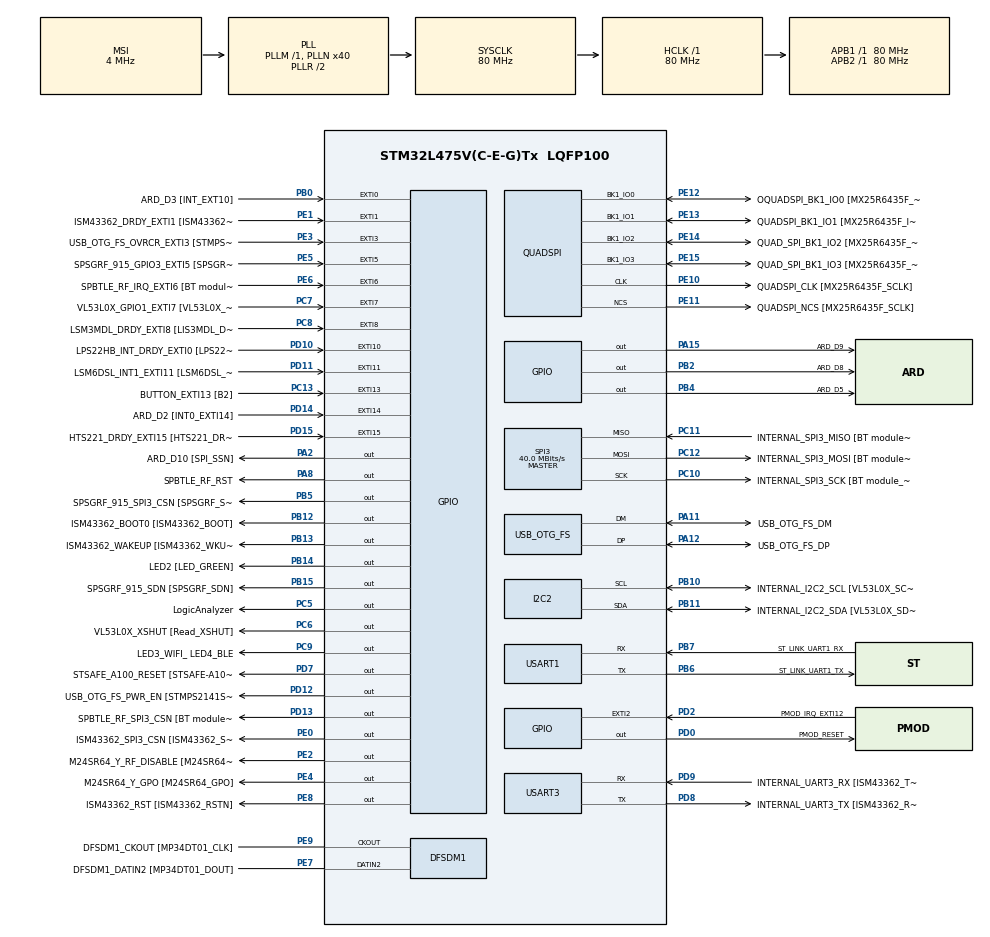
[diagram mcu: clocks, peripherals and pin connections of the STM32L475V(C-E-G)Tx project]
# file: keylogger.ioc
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Mcu.Family=STM32L4
Mcu.Name=STM32L475V(C-E-G)Tx
Mcu.Package=LQFP100
NVIC.EXTI15_10_IRQn=true\:0\:0\:false\:false\:true\:true\:true\:true
NVIC.EXTI9_5_IRQn=true\:0\:0\:false\:false\:true\:true\:true\:true
NVIC.PriorityGroup=NVIC_PRIORITYGROUP_4
PA0.GPIO_Label=ARD_D1 [UART4_TX]
PA0.Signal=UART4_TX
PA1.GPIO_Label=ARD_D0 [UART4_RX]
PA1.Signal=UART4_RX
PA10.GPIO_Label=USB_OTG_FS_ID
PA10.Signal=USB_OTG_FS_ID
PA11.GPIO_Label=USB_OTG_FS_DM
PA11.Mode=Device_Only
PA11.Signal=USB_OTG_FS_DM
PA12.GPIO_Label=USB_OTG_FS_DP
PA12.Mode=Device_Only
PA12.Signal=USB_OTG_FS_DP
PA13\ (JTMS-SWDIO).GPIO_Label=SYS_JTMS_SWDIO
PA13\ (JTMS-SWDIO).Mode=Serial_Wire
PA13\ (JTMS-SWDIO).Signal=SYS_JTMS-SWDIO
PA14\ (JTCK-SWCLK).GPIO_Label=SYS_JTCK_SWCLK
PA14\ (JTCK-SWCLK).Mode=Serial_Wire
PA14\ (JTCK-SWCLK).Signal=SYS_JTCK-SWCLK
PA15\ (JTDI).GPIO_Label=ARD_D9
PA15\ (JTDI).Signal=GPIO_Output
PA2.GPIO_Label=ARD_D10 [SPI_SSN]
PA2.Signal=GPIO_Output
PA3.GPIO_Label=ARD_D4
PA3.Signal=S_TIM2_CH4
PA4.GPIO_Label=ARD_D7
PA4.Signal=ADCx_IN9
PA5.GPIO_Label=ARD_D13 [SPI1_SCK]
PA5.Signal=SPI1_SCK
PA6.GPIO_Label=ARD_D12 [SPI1_MISO]
PA6.Signal=SPI1_MISO
PA7.GPIO_Label=ARD_D11 [SPI1_MOSI]
PA7.Signal=SPI1_MOSI
PA8.GPIO_Label=SPBTLE_RF_RST
PA8.Signal=GPIO_Output
PA9.GPIO_Label=USB_OTG_FS_VBUS [STMPS2141STR_OUT]
PA9.Signal=USB_OTG_FS_VBUS
PB0.GPIO_Label=ARD_D3 [INT_EXT10]
PB0.Signal=GPXTI0
PB1.GPIO_Label=ARD_D6 [ADC1_IN6]
PB1.Signal=ADCx_IN16
PB10.GPIO_Label=INTERNAL_I2C2_SCL [VL53L0X_SCL]
PB10.GPIO_Pu=GPIO_PULLUP
PB10.Mode=I2C
PB10.Signal=I2C2_SCL
PB11.GPIO_Label=INTERNAL_I2C2_SDA [VL53L0X_SDA]
PB11.GPIO_Pu=GPIO_PULLUP
PB11.Mode=I2C
PB11.Signal=I2C2_SDA
PB12.GPIO_Label=ISM43362_BOOT0 [ISM43362_BOOT]
PB12.Signal=GPIO_Output
PB13.GPIO_Label=ISM43362_WAKEUP [ISM43362_WKUP]
PB13.Signal=GPIO_Output
PB14.GPIO_Label=LED2 [LED_GREEN]
PB14.Signal=GPIO_Output
PB15.GPIO_Label=SPSGRF_915_SDN [SPSGRF_SDN]
PB15.Signal=GPIO_Output
PB2.GPIO_Label=ARD_D8
PB2.Signal=GPIO_Output
PB3\ (JTDO-TRACESWO).GPIO_Label=SYS_JTD0_SWO
PB3\ (JTDO-TRACESWO).Signal=SYS_JTDO-SWO
PB4\ (NJTRST).GPIO_Label=ARD_D5
PB4\ (NJTRST).Signal=GPIO_Output
PB5.GPIO_Label=SPSGRF_915_SPI3_CSN [SPSGRF_SPI_CS]
PB5.PinState=GPIO_PIN_SET
PB5.Signal=GPIO_Output
PB6.GPIO_Label=ST_LINK_UART1_TX
PB6.Mode=Asynchronous
PB6.Signal=USART1_TX
PB7.GPIO_Label=ST_LINK_UART1_RX
PB7.Mode=Asynchronous
PB7.Signal=USART1_RX
PB8.GPIO_Label=ARD_D15 [I2C1_SCL]
PB8.Signal=I2C1_SCL
PB9.GPIO_Label=ARD_D14 [I2C1_SDA]
PB9.Signal=I2C1_SDA
PC0.GPIO_Label=ARD_A5 [ADC]
PC0.Signal=ADCx_IN1
PC1.GPIO_Label=ARD_A4 [ADC]
PC1.Signal=ADCx_IN2
PC10.GPIO_Label=INTERNAL_SPI3_SCK [BT module_SPI_SCLK] [ISM43362_SCK]
PC10.Mode=Full_Duplex_Master
PC10.Signal=SPI3_SCK
PC11.GPIO_Label=INTERNAL_SPI3_MISO [BT module_SPI_MISO] [ISM43362_MISO]
PC11.Mode=Full_Duplex_Master
PC11.Signal=SPI3_MISO
PC12.GPIO_Label=INTERNAL_SPI3_MOSI [BT module_SPI_MOSI] [ISM43362_MOSI]
PC12.Mode=Full_Duplex_Master
PC12.Signal=SPI3_MOSI
PC13.GPIO_Label=BUTTON_EXTI13 [B2]
PC13.GPIO_ModeDefaultEXTI=GPIO_MODE_IT_FALLING
PC13.Signal=GPXTI13
PC14-OSC32_IN\ (PC14).Mode=LSE-External-Oscillator
PC14-OSC32_IN\ (PC14).Signal=RCC_OSC32_IN
PC15-OSC32_OUT\ (PC15).Mode=LSE-External-Oscillator
PC15-OSC32_OUT\ (PC15).Signal=RCC_OSC32_OUT
PC2.GPIO_Label=ARD_A3 [ADC]
PC2.Signal=ADCx_IN3
PC3.GPIO_Label=ARD_A2 [ADC]
PC3.Signal=ADCx_IN4
PC4.GPIO_Label=ARD_A1 [ADC]
PC4.Signal=ADCx_IN13
PC5.GPIO_Label=LogicAnalyzer
PC5.Signal=GPIO_Output
PC6.GPIO_Label=VL53L0X_XSHUT [Read_XSHUT]
PC6.Signal=GPIO_Output
PC7.GPIO_Label=VL53L0X_GPIO1_EXTI7 [VL53L0X_GPIO1]
PC7.Signal=GPXTI7
PC8.GPIO_Label=LSM3MDL_DRDY_EXTI8 [LIS3MDL_DRDY]
PC8.Signal=GPXTI8
PC9.GPIO_Label=LED3_WIFI_ LED4_BLE
PC9.Signal=GPIO_Output
PD0.GPIO_Label=PMOD_RESET
PD0.Signal=GPIO_Output
PD1.GPIO_Label=PMOD_SPI2_SCK
PD1.Signal=SPI2_SCK
PD10.GPIO_Label=LPS22HB_INT_DRDY_EXTI0 [LPS22HB_INT_DRDY] 
PD10.Signal=GPXTI10
PD11.GPIO_Label=LSM6DSL_INT1_EXTI11 [LSM6DSL_INT1]
PD11.Signal=GPXTI11
PD12.GPIO_Label=USB_OTG_FS_PWR_EN [STMPS2141STR_EN]
PD12.Signal=GPIO_Output
PD13.GPIO_Label=SPBTLE_RF_SPI3_CSN [BT module_SPI_CS]
PD13.PinState=GPIO_PIN_SET
PD13.Signal=GPIO_Output
PD14.GPIO_Label=ARD_D2 [INT0_EXTI14]
PD14.Signal=GPXTI14
PD15.GPIO_Label=HTS221_DRDY_EXTI15 [HTS221_DRDY]
PD15.Signal=GPXTI15
PD2.GPIO_Label=PMOD_IRQ_EXTI12
PD2.Signal=GPXTI2
PD3.GPIO_Label=PMOD_UART2_CTS
PD3.Signal=USART2_CTS
PD4.GPIO_Label=PMOD_UART2_RTS
PD4.Signal=USART2_RTS
PD5.GPIO_Label=PMOD_UART2_TX
PD5.Signal=USART2_TX
PD6.GPIO_Label=PMOD_UART2_RX
PD6.Signal=USART2_RX
PD7.GPIO_Label=STSAFE_A100_RESET [STSAFE-A100_RESET]
PD7.Signal=GPIO_Output
PD8.GPIO_Label=INTERNAL_UART3_TX [ISM43362_RX]
PD8.Mode=Asynchronous
PD8.Signal=USART3_TX
PD9.GPIO_Label=INTERNAL_UART3_RX [ISM43362_TX]
PD9.Mode=Asynchronous
PD9.Signal=USART3_RX
PE0.GPIO_Label=ISM43362_SPI3_CSN [ISM43362_SSN]
PE0.PinState=GPIO_PIN_SET
PE0.Signal=GPIO_Output
PE1.GPIO_Label=ISM43362_DRDY_EXTI1 [ISM43362_DATARDY]
PE1.Signal=GPXTI1
PE10.GPIO_Label=QUADSPI_CLK [MX25R6435F_SCLK]
PE10.Mode=Single Bank
PE10.Signal=QUADSPI_CLK
PE11.GPIO_Label=QUADSPI_NCS [MX25R6435F_SCLK]
PE11.Mode=Single Bank
PE11.Signal=QUADSPI_NCS
PE12.GPIO_Label=OQUADSPI_BK1_IO0 [MX25R6435F_IO0]
PE12.Mode=Single Bank
PE12.Signal=QUADSPI_BK1_IO0
PE13.GPIO_Label=QUADSPI_BK1_IO1 [MX25R6435F_IO1]
PE13.Mode=Single Bank
PE13.Signal=QUADSPI_BK1_IO1
PE14.GPIO_Label=QUAD_SPI_BK1_IO2 [MX25R6435F_IO2]
PE14.Mode=Single Bank
PE14.Signal=QUADSPI_BK1_IO2
PE15.GPIO_Label=QUAD_SPI_BK1_IO3 [MX25R6435F_IO3]
PE15.Mode=Single Bank
PE15.Signal=QUADSPI_BK1_IO3
PE2.GPIO_Label=M24SR64_Y_RF_DISABLE [M24SR64_RFDIS]
PE2.Signal=GPIO_Output
PE3.GPIO_Label=USB_OTG_FS_OVRCR_EXTI3 [STMPS2141STR_FAULT]
PE3.Signal=GPXTI3
PE4.GPIO_Label=M24SR64_Y_GPO [M24SR64_GPO]
PE4.Signal=GPIO_Output
PE5.GPIO_Label=SPSGRF_915_GPIO3_EXTI5 [SPSGRF_GPIO_3]
PE5.Signal=GPXTI5
PE6.GPIO_Label=SPBTLE_RF_IRQ_EXTI6 [BT module_SPI_IRQ]
PE6.Signal=GPXTI6
PE7.GPIO_Label=DFSDM1_DATIN2 [MP34DT01_DOUT]
PE7.Signal=S_DATAIN2DFSDM1
PE8.GPIO_Label=ISM43362_RST [ISM43362_RSTN]
PE8.Signal=GPIO_Output
PE9.GPIO_Label=DFSDM1_CKOUT [MP34DT01_CLK]
PE9.Signal=S_CKOUTDFSDM1
ProjectManager.HeapSize=0x200
ProjectManager.StackSize=0x400
ProjectManager.TargetToolchain=STM32CubeIDE
QUADSPI.ClockPrescaler=2
QUADSPI.FifoThreshold=4
QUADSPI.FlashSize=23
QUADSPI.SampleShifting=QSPI_SAMPLE_SHIFTING_HALFCYCLE
RCC.ADCFreq_Value=48000000
RCC.AHBFreq_Value=80000000
RCC.APB1Freq_Value=80000000
RCC.APB1TimFreq_Value=80000000
RCC.APB2Freq_Value=80000000
RCC.APB2TimFreq_Value=80000000
RCC.CortexFreq_Value=80000000
RCC.HCLKFreq_Value=80000000
RCC.HSE_VALUE=8000000
RCC.HSI_VALUE=16000000
RCC.MSI_VALUE=4000000
RCC.PLLN=40
RCC.PLLSAI1N=24
RCC.SYSCLKFreq_VALUE=80000000
RCC.SYSCLKSource=RCC_SYSCLKSOURCE_PLLCLK
RCC.USBFreq_Value=48000000
RCC.VCOOutputFreq_Value=160000000
SH.ADCx_IN1.0=ADC1_IN1
SH.ADCx_IN13.0=ADC1_IN13
SH.ADCx_IN16.0=ADC1_IN16
SH.ADCx_IN2.0=ADC1_IN2
SH.ADCx_IN3.0=ADC1_IN3
SH.ADCx_IN4.0=ADC1_IN4
SH.ADCx_IN9.0=ADC1_IN9
SH.S_CKOUTDFSDM1.0=DFSDM1_CKOUT,CKOUT
SH.S_CKOUTDFSDM1.1=DFSDM1_CKOUT,PDM_SPI_Input_from_ch12_and_Internal_Clock
SH.S_DATAIN2DFSDM1.0=DFSDM1_DATIN2,PDM_SPI_Input_from_ch12_and_Internal_Clock
SH.S_TIM2_CH4.0=TIM2_CH4
SPI3.CalculateBaudRate=40.0 MBits/s
SPI3.Direction=SPI_DIRECTION_2LINES
SPI3.Mode=SPI_MODE_MASTER
SPI3.VirtualType=VM_MASTER
USART1.VirtualMode-Asynchronous=VM_ASYNC
USART3.VirtualMode-Asynchronous=VM_ASYNC
USB_OTG_FS.VirtualMode=Device_Only
VP_RNG_VS_RNG.Mode=RNG_Activate
board=B-L475E-IOT01A1

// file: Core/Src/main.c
/* USER CODE BEGIN Header */
/**
  ******************************************************************************
  * @file           : main.c
  * @brief          : Main program body
  ******************************************************************************
  * @attention
  *
  * Copyright (c) 2025 STMicroelectronics.
  * All rights reserved.
  *
  * This software is licensed under terms that can be found in the LICENSE file
  * in the root directory of this software component.
  * If no LICENSE file comes with this software, it is provided AS-IS.
  *
  ******************************************************************************
  */
/* USER CODE END Header */
#include "main.h"

/* USER CODE BEGIN Includes */
//#include <err.h>
#include <stdio.h>
#include <string.h>

#include "tee_client_api.h"
#include "keylogger_ta.h"

/* USER CODE END Includes */

DFSDM_Channel_HandleTypeDef hdfsdm1_channel1;

I2C_HandleTypeDef hi2c2;

QSPI_HandleTypeDef hqspi;

RNG_HandleTypeDef hrng;

SPI_HandleTypeDef hspi3;

UART_HandleTypeDef huart1;
UART_HandleTypeDef huart3;

PCD_HandleTypeDef hpcd_USB_OTG_FS;

void SystemClock_Config(void);
void PeriphCommonClock_Config(void);
static void MX_GPIO_Init(void);
static void MX_DFSDM1_Init(void);
static void MX_I2C2_Init(void);
static void MX_QUADSPI_Init(void);
static void MX_SPI3_Init(void);
static void MX_USART1_UART_Init(void);
static void MX_USART3_UART_Init(void);
static void MX_USB_OTG_FS_PCD_Init(void);
static void MX_RNG_Init(void);

/* USER CODE BEGIN 0 */
int __io_putchar(int ch){
    HAL_UART_Transmit(&huart1, (uint8_t *) &ch, 1, HAL_MAX_DELAY);
    return ch;
}

/* USER CODE END 0 */

int main(void)
{

  /* MCU Configuration--------------------------------------------------------*/

  /* Reset of all peripherals, Initializes the Flash interface and the Systick. */
  HAL_Init();

  /* Configure the system clock */
  SystemClock_Config();

  /* Configure the peripherals common clocks */
  PeriphCommonClock_Config();

  /* Initialize all configured peripherals */
  MX_GPIO_Init();
  MX_DFSDM1_Init();
  MX_I2C2_Init();
  MX_QUADSPI_Init();
  MX_SPI3_Init();
  MX_USART1_UART_Init();
  MX_USART3_UART_Init();
  MX_USB_OTG_FS_PCD_Init();
  MX_RNG_Init();
  /* USER CODE BEGIN 2 */
  HAL_GPIO_TogglePin(LogicAnalyzer_GPIO_Port, LogicAnalyzer_Pin);

  TEEC_Result res;
  TEEC_Context ctx;
  TEEC_Session sess;
  TEEC_Operation op;
  TEEC_UUID uuid = TA_KEYLOGGER_UUID;
  uint32_t err_origin;

  /* Initialize a context connecting us to the TEE */
  res = TEEC_InitializeContext(NULL, &ctx);
  if (res != TEEC_SUCCESS)
    printf("TEEC_InitializeContext failed with code 0x%x", res);

  /*
   * Open a session to the "keylogger" TA
  */
  res = TEEC_OpenSession(&ctx, &sess, &uuid,
			   TEEC_LOGIN_PUBLIC, NULL, NULL, &err_origin);
  if (res != TEEC_SUCCESS)
    printf("TEEC_Opensession failed with code 0x%x origin 0x%x", res, err_origin);

  /*
  * Execute a function in the TA by invoking it, in this case
  * we're incrementing a number.
  *
  * The value of command ID part and how the parameters are
  * interpreted is part of the interface provided by the TA.
  */

  /* Clear the TEEC_Operation struct */
  memset(&op, 0, sizeof(op));

  /*
  * Prepare the argument. Pass a value in the first parameter,
  * the remaining three parameters are unused.
  */
  op.paramTypes = TEEC_PARAM_TYPES(TEEC_VALUE_INOUT, TEEC_NONE,
				 TEEC_NONE, TEEC_NONE);

  /*
  * TA_KEYLOGGER_CMD_READ_KEY is the actual function in the TA to be
  * called.
  */
  printf("Invoking TA to get enter PIN to access protected data\n");
  res = TEEC_InvokeCommand(&sess, TA_KEYLOGGER_CMD_READ_KEY, &op,
			 &err_origin);
  if (res != TEEC_SUCCESS)
    printf("TEEC_InvokeCommand failed with code 0x%x origin 0x%x",
		res, err_origin);
  printf("Device key is: %x\n", op.params[0].value.a);

  /*
   * We're done with the TA, close the session and
   * destroy the context.
   *
   * The TA will print "Goodbye!" in the log when the
   * session is closed.
   */

  TEEC_CloseSession(&sess);

  TEEC_FinalizeContext(&ctx);

  HAL_GPIO_TogglePin(LogicAnalyzer_GPIO_Port, LogicAnalyzer_Pin);

  goto exit;

  /* USER CODE END 2 */

  /* Infinite loop */
  while (1)
  {

    /* USER CODE BEGIN 3 */
  }

exit:
	return 0;
  /* USER CODE END 3 */
}

void SystemClock_Config(void)
{
  RCC_OscInitTypeDef RCC_OscInitStruct = {0};
  RCC_ClkInitTypeDef RCC_ClkInitStruct = {0};

  /** Configure the main internal regulator output voltage
  */
  if (HAL_PWREx_ControlVoltageScaling(PWR_REGULATOR_VOLTAGE_SCALE1) != HAL_OK)
  {
    Error_Handler();
  }

  /** Configure LSE Drive Capability
  */
  HAL_PWR_EnableBkUpAccess();
  __HAL_RCC_LSEDRIVE_CONFIG(RCC_LSEDRIVE_LOW);

  /** Initializes the RCC Oscillators according to the specified parameters
  * in the RCC_OscInitTypeDef structure.
  */

  /* MSI is enabled after System reset, activate PLL with MSI as source */
  RCC_OscInitStruct.OscillatorType = RCC_OSCILLATORTYPE_MSI;
  RCC_OscInitStruct.MSIState = RCC_MSI_ON;
  RCC_OscInitStruct.MSIClockRange = RCC_MSIRANGE_6;
  RCC_OscInitStruct.MSICalibrationValue = RCC_MSICALIBRATION_DEFAULT;
  RCC_OscInitStruct.PLL.PLLState = RCC_PLL_ON;
  RCC_OscInitStruct.PLL.PLLSource = RCC_PLLSOURCE_MSI;
  RCC_OscInitStruct.PLL.PLLM = 1;
  RCC_OscInitStruct.PLL.PLLN = 40;
  RCC_OscInitStruct.PLL.PLLR = 2;
  RCC_OscInitStruct.PLL.PLLP = 7;
  RCC_OscInitStruct.PLL.PLLQ = 4;
  if(HAL_RCC_OscConfig(&RCC_OscInitStruct) != HAL_OK)
  {
    /* Initialization Error */
    Error_Handler();
  }

  /* Select PLL as system clock source and configure the HCLK, PCLK1 and PCLK2 clocks dividers */
  RCC_ClkInitStruct.ClockType = (RCC_CLOCKTYPE_SYSCLK | RCC_CLOCKTYPE_HCLK | RCC_CLOCKTYPE_PCLK1 | RCC_CLOCKTYPE_PCLK2);
  RCC_ClkInitStruct.SYSCLKSource = RCC_SYSCLKSOURCE_PLLCLK;
  RCC_ClkInitStruct.AHBCLKDivider = RCC_SYSCLK_DIV1;
  RCC_ClkInitStruct.APB1CLKDivider = RCC_HCLK_DIV1;
  RCC_ClkInitStruct.APB2CLKDivider = RCC_HCLK_DIV1;
  if(HAL_RCC_ClockConfig(&RCC_ClkInitStruct, FLASH_LATENCY_4) != HAL_OK)
  {
    /* Initialization Error */
    Error_Handler();
  }

  /** Enable MSI Auto calibration
  */
  HAL_RCCEx_EnableMSIPLLMode();
}

void PeriphCommonClock_Config(void)
{
  RCC_PeriphCLKInitTypeDef PeriphClkInit = {0};

  /** Initializes the peripherals clock
  */
  PeriphClkInit.PeriphClockSelection = RCC_PERIPHCLK_USB|RCC_PERIPHCLK_RNG;
  PeriphClkInit.UsbClockSelection = RCC_USBCLKSOURCE_PLLSAI1;
  PeriphClkInit.RngClockSelection = RCC_RNGCLKSOURCE_PLLSAI1;
  PeriphClkInit.PLLSAI1.PLLSAI1Source = RCC_PLLSOURCE_MSI;
  PeriphClkInit.PLLSAI1.PLLSAI1M = 1;
  PeriphClkInit.PLLSAI1.PLLSAI1N = 24;
  PeriphClkInit.PLLSAI1.PLLSAI1P = RCC_PLLP_DIV7;
  PeriphClkInit.PLLSAI1.PLLSAI1Q = RCC_PLLQ_DIV2;
  PeriphClkInit.PLLSAI1.PLLSAI1R = RCC_PLLR_DIV2;
  PeriphClkInit.PLLSAI1.PLLSAI1ClockOut = RCC_PLLSAI1_48M2CLK;
  if (HAL_RCCEx_PeriphCLKConfig(&PeriphClkInit) != HAL_OK)
  {
    Error_Handler();
  }
}

static void MX_DFSDM1_Init(void)
{

  hdfsdm1_channel1.Instance = DFSDM1_Channel1;
  hdfsdm1_channel1.Init.OutputClock.Activation = ENABLE;
  hdfsdm1_channel1.Init.OutputClock.Selection = DFSDM_CHANNEL_OUTPUT_CLOCK_SYSTEM;
  hdfsdm1_channel1.Init.OutputClock.Divider = 2;
  hdfsdm1_channel1.Init.Input.Multiplexer = DFSDM_CHANNEL_EXTERNAL_INPUTS;
  hdfsdm1_channel1.Init.Input.DataPacking = DFSDM_CHANNEL_STANDARD_MODE;
  hdfsdm1_channel1.Init.Input.Pins = DFSDM_CHANNEL_FOLLOWING_CHANNEL_PINS;
  hdfsdm1_channel1.Init.SerialInterface.Type = DFSDM_CHANNEL_SPI_RISING;
  hdfsdm1_channel1.Init.SerialInterface.SpiClock = DFSDM_CHANNEL_SPI_CLOCK_INTERNAL;
  hdfsdm1_channel1.Init.Awd.FilterOrder = DFSDM_CHANNEL_FASTSINC_ORDER;
  hdfsdm1_channel1.Init.Awd.Oversampling = 1;
  hdfsdm1_channel1.Init.Offset = 0;
  hdfsdm1_channel1.Init.RightBitShift = 0x00;
  if (HAL_DFSDM_ChannelInit(&hdfsdm1_channel1) != HAL_OK)
  {
    Error_Handler();
  }

}

static void MX_I2C2_Init(void)
{

  hi2c2.Instance = I2C2;
  hi2c2.Init.Timing = 0x00000E14;
  hi2c2.Init.OwnAddress1 = 0;
  hi2c2.Init.AddressingMode = I2C_ADDRESSINGMODE_7BIT;
  hi2c2.Init.DualAddressMode = I2C_DUALADDRESS_DISABLE;
  hi2c2.Init.OwnAddress2 = 0;
  hi2c2.Init.OwnAddress2Masks = I2C_OA2_NOMASK;
  hi2c2.Init.GeneralCallMode = I2C_GENERALCALL_DISABLE;
  hi2c2.Init.NoStretchMode = I2C_NOSTRETCH_DISABLE;
  if (HAL_I2C_Init(&hi2c2) != HAL_OK)
  {
    Error_Handler();
  }

  /** Configure Analogue filter
  */
  if (HAL_I2CEx_ConfigAnalogFilter(&hi2c2, I2C_ANALOGFILTER_ENABLE) != HAL_OK)
  {
    Error_Handler();
  }

  /** Configure Digital filter
  */
  if (HAL_I2CEx_ConfigDigitalFilter(&hi2c2, 0) != HAL_OK)
  {
    Error_Handler();
  }

}

static void MX_QUADSPI_Init(void)
{

  /* QUADSPI parameter configuration*/
  hqspi.Instance = QUADSPI;
  hqspi.Init.ClockPrescaler = 2;
  hqspi.Init.FifoThreshold = 4;
  hqspi.Init.SampleShifting = QSPI_SAMPLE_SHIFTING_HALFCYCLE;
  hqspi.Init.FlashSize = 23;
  hqspi.Init.ChipSelectHighTime = QSPI_CS_HIGH_TIME_1_CYCLE;
  hqspi.Init.ClockMode = QSPI_CLOCK_MODE_0;
  if (HAL_QSPI_Init(&hqspi) != HAL_OK)
  {
    Error_Handler();
  }

}

static void MX_RNG_Init(void)
{

  hrng.Instance = RNG;
  if (HAL_RNG_Init(&hrng) != HAL_OK)
  {
    Error_Handler();
  }

}

static void MX_SPI3_Init(void)
{

  /* SPI3 parameter configuration*/
  hspi3.Instance = SPI3;
  hspi3.Init.Mode = SPI_MODE_MASTER;
  hspi3.Init.Direction = SPI_DIRECTION_2LINES;
  hspi3.Init.DataSize = SPI_DATASIZE_4BIT;
  hspi3.Init.CLKPolarity = SPI_POLARITY_LOW;
  hspi3.Init.CLKPhase = SPI_PHASE_1EDGE;
  hspi3.Init.NSS = SPI_NSS_SOFT;
  hspi3.Init.BaudRatePrescaler = SPI_BAUDRATEPRESCALER_2;
  hspi3.Init.FirstBit = SPI_FIRSTBIT_MSB;
  hspi3.Init.TIMode = SPI_TIMODE_DISABLE;
  hspi3.Init.CRCCalculation = SPI_CRCCALCULATION_DISABLE;
  hspi3.Init.CRCPolynomial = 7;
  hspi3.Init.CRCLength = SPI_CRC_LENGTH_DATASIZE;
  hspi3.Init.NSSPMode = SPI_NSS_PULSE_ENABLE;
  if (HAL_SPI_Init(&hspi3) != HAL_OK)
  {
    Error_Handler();
  }

}

static void MX_USART1_UART_Init(void)
{

  huart1.Instance = USART1;
  huart1.Init.BaudRate = 115200;
  huart1.Init.WordLength = UART_WORDLENGTH_8B;
  huart1.Init.StopBits = UART_STOPBITS_1;
  huart1.Init.Parity = UART_PARITY_NONE;
  huart1.Init.Mode = UART_MODE_TX_RX;
  huart1.Init.HwFlowCtl = UART_HWCONTROL_NONE;
  huart1.Init.OverSampling = UART_OVERSAMPLING_16;
  huart1.Init.OneBitSampling = UART_ONE_BIT_SAMPLE_DISABLE;
  huart1.AdvancedInit.AdvFeatureInit = UART_ADVFEATURE_NO_INIT;
  if (HAL_UART_Init(&huart1) != HAL_OK)
  {
    Error_Handler();
  }

}

static void MX_USART3_UART_Init(void)
{

  huart3.Instance = USART3;
  huart3.Init.BaudRate = 115200;
  huart3.Init.WordLength = UART_WORDLENGTH_8B;
  huart3.Init.StopBits = UART_STOPBITS_1;
  huart3.Init.Parity = UART_PARITY_NONE;
  huart3.Init.Mode = UART_MODE_TX_RX;
  huart3.Init.HwFlowCtl = UART_HWCONTROL_NONE;
  huart3.Init.OverSampling = UART_OVERSAMPLING_16;
  huart3.Init.OneBitSampling = UART_ONE_BIT_SAMPLE_DISABLE;
  huart3.AdvancedInit.AdvFeatureInit = UART_ADVFEATURE_NO_INIT;
  if (HAL_UART_Init(&huart3) != HAL_OK)
  {
    Error_Handler();
  }

}

static void MX_USB_OTG_FS_PCD_Init(void)
{

  hpcd_USB_OTG_FS.Instance = USB_OTG_FS;
  hpcd_USB_OTG_FS.Init.dev_endpoints = 6;
  hpcd_USB_OTG_FS.Init.speed = PCD_SPEED_FULL;
  hpcd_USB_OTG_FS.Init.phy_itface = PCD_PHY_EMBEDDED;
  hpcd_USB_OTG_FS.Init.Sof_enable = DISABLE;
  hpcd_USB_OTG_FS.Init.low_power_enable = DISABLE;
  hpcd_USB_OTG_FS.Init.lpm_enable = DISABLE;
  hpcd_USB_OTG_FS.Init.battery_charging_enable = DISABLE;
  hpcd_USB_OTG_FS.Init.use_dedicated_ep1 = DISABLE;
  hpcd_USB_OTG_FS.Init.vbus_sensing_enable = DISABLE;
  if (HAL_PCD_Init(&hpcd_USB_OTG_FS) != HAL_OK)
  {
    Error_Handler();
  }

}

static void MX_GPIO_Init(void)
{
  GPIO_InitTypeDef GPIO_InitStruct = {0};

  /* GPIO Ports Clock Enable */
  __HAL_RCC_GPIOE_CLK_ENABLE();
  __HAL_RCC_GPIOC_CLK_ENABLE();
  __HAL_RCC_GPIOA_CLK_ENABLE();
  __HAL_RCC_GPIOB_CLK_ENABLE();
  __HAL_RCC_GPIOD_CLK_ENABLE();

  /*Configure GPIO pin Output Level */
  HAL_GPIO_WritePin(GPIOE, M24SR64_Y_RF_DISABLE_Pin|M24SR64_Y_GPO_Pin|ISM43362_RST_Pin, GPIO_PIN_RESET);

  /*Configure GPIO pin Output Level */
  HAL_GPIO_WritePin(GPIOA, ARD_D10_Pin|SPBTLE_RF_RST_Pin|ARD_D9_Pin, GPIO_PIN_RESET);

  /*Configure GPIO pin Output Level */
  HAL_GPIO_WritePin(GPIOC, LogicAnalyzer_Pin|VL53L0X_XSHUT_Pin|LED3_WIFI__LED4_BLE_Pin, GPIO_PIN_RESET);

  /*Configure GPIO pin Output Level */
  HAL_GPIO_WritePin(GPIOB, ARD_D8_Pin|ISM43362_BOOT0_Pin|ISM43362_WAKEUP_Pin|LED2_Pin
                          |SPSGRF_915_SDN_Pin|ARD_D5_Pin, GPIO_PIN_RESET);

  /*Configure GPIO pin Output Level */
  HAL_GPIO_WritePin(GPIOD, USB_OTG_FS_PWR_EN_Pin|PMOD_RESET_Pin|STSAFE_A100_RESET_Pin, GPIO_PIN_RESET);

  /*Configure GPIO pin Output Level */
  HAL_GPIO_WritePin(SPBTLE_RF_SPI3_CSN_GPIO_Port, SPBTLE_RF_SPI3_CSN_Pin, GPIO_PIN_SET);

  /*Configure GPIO pin Output Level */
  HAL_GPIO_WritePin(SPSGRF_915_SPI3_CSN_GPIO_Port, SPSGRF_915_SPI3_CSN_Pin, GPIO_PIN_SET);

  /*Configure GPIO pin Output Level */
  HAL_GPIO_WritePin(ISM43362_SPI3_CSN_GPIO_Port, ISM43362_SPI3_CSN_Pin, GPIO_PIN_SET);

  /*Configure GPIO pins : M24SR64_Y_RF_DISABLE_Pin M24SR64_Y_GPO_Pin ISM43362_RST_Pin ISM43362_SPI3_CSN_Pin */
  GPIO_InitStruct.Pin = M24SR64_Y_RF_DISABLE_Pin|M24SR64_Y_GPO_Pin|ISM43362_RST_Pin|ISM43362_SPI3_CSN_Pin;
  GPIO_InitStruct.Mode = GPIO_MODE_OUTPUT_PP;
  GPIO_InitStruct.Pull = GPIO_NOPULL;
  GPIO_InitStruct.Speed = GPIO_SPEED_FREQ_LOW;
  HAL_GPIO_Init(GPIOE, &GPIO_InitStruct);

  /*Configure GPIO pins : USB_OTG_FS_OVRCR_EXTI3_Pin SPSGRF_915_GPIO3_EXTI5_Pin SPBTLE_RF_IRQ_EXTI6_Pin ISM43362_DRDY_EXTI1_Pin */
  GPIO_InitStruct.Pin = USB_OTG_FS_OVRCR_EXTI3_Pin|SPSGRF_915_GPIO3_EXTI5_Pin|SPBTLE_RF_IRQ_EXTI6_Pin|ISM43362_DRDY_EXTI1_Pin;
  GPIO_InitStruct.Mode = GPIO_MODE_IT_RISING;
  GPIO_InitStruct.Pull = GPIO_NOPULL;
  HAL_GPIO_Init(GPIOE, &GPIO_InitStruct);

  /*Configure GPIO pin : BUTTON_EXTI13_Pin */
  GPIO_InitStruct.Pin = BUTTON_EXTI13_Pin;
  GPIO_InitStruct.Mode = GPIO_MODE_IT_FALLING;
  GPIO_InitStruct.Pull = GPIO_NOPULL;
  HAL_GPIO_Init(BUTTON_EXTI13_GPIO_Port, &GPIO_InitStruct);

  /*Configure GPIO pins : ARD_A5_Pin ARD_A4_Pin ARD_A3_Pin ARD_A2_Pin
                           ARD_A1_Pin */
  GPIO_InitStruct.Pin = ARD_A5_Pin|ARD_A4_Pin|ARD_A3_Pin|ARD_A2_Pin
                          |ARD_A1_Pin;
  GPIO_InitStruct.Mode = GPIO_MODE_ANALOG_ADC_CONTROL;
  GPIO_InitStruct.Pull = GPIO_NOPULL;
  HAL_GPIO_Init(GPIOC, &GPIO_InitStruct);

  /*Configure GPIO pins : ARD_D1_Pin ARD_D0_Pin */
  GPIO_InitStruct.Pin = ARD_D1_Pin|ARD_D0_Pin;
  GPIO_InitStruct.Mode = GPIO_MODE_AF_PP;
  GPIO_InitStruct.Pull = GPIO_NOPULL;
  GPIO_InitStruct.Speed = GPIO_SPEED_FREQ_VERY_HIGH;
  GPIO_InitStruct.Alternate = GPIO_AF8_UART4;
  HAL_GPIO_Init(GPIOA, &GPIO_InitStruct);

  /*Configure GPIO pins : ARD_D10_Pin SPBTLE_RF_RST_Pin ARD_D9_Pin */
  GPIO_InitStruct.Pin = ARD_D10_Pin|SPBTLE_RF_RST_Pin|ARD_D9_Pin;
  GPIO_InitStruct.Mode = GPIO_MODE_OUTPUT_PP;
  GPIO_InitStruct.Pull = GPIO_NOPULL;
  GPIO_InitStruct.Speed = GPIO_SPEED_FREQ_LOW;
  HAL_GPIO_Init(GPIOA, &GPIO_InitStruct);

  /*Configure GPIO pin : ARD_D4_Pin */
  GPIO_InitStruct.Pin = ARD_D4_Pin;
  GPIO_InitStruct.Mode = GPIO_MODE_AF_PP;
  GPIO_InitStruct.Pull = GPIO_NOPULL;
  GPIO_InitStruct.Speed = GPIO_SPEED_FREQ_LOW;
  GPIO_InitStruct.Alternate = GPIO_AF1_TIM2;
  HAL_GPIO_Init(ARD_D4_GPIO_Port, &GPIO_InitStruct);

  /*Configure GPIO pin : ARD_D7_Pin */
  GPIO_InitStruct.Pin = ARD_D7_Pin;
  GPIO_InitStruct.Mode = GPIO_MODE_ANALOG_ADC_CONTROL;
  GPIO_InitStruct.Pull = GPIO_NOPULL;
  HAL_GPIO_Init(ARD_D7_GPIO_Port, &GPIO_InitStruct);

  /*Configure GPIO pins : ARD_D13_Pin ARD_D12_Pin ARD_D11_Pin */
  GPIO_InitStruct.Pin = ARD_D13_Pin|ARD_D12_Pin|ARD_D11_Pin;
  GPIO_InitStruct.Mode = GPIO_MODE_AF_PP;
  GPIO_InitStruct.Pull = GPIO_NOPULL;
  GPIO_InitStruct.Speed = GPIO_SPEED_FREQ_VERY_HIGH;
  GPIO_InitStruct.Alternate = GPIO_AF5_SPI1;
  HAL_GPIO_Init(GPIOA, &GPIO_InitStruct);

  /*Configure GPIO pins : LogicAnalyzer_Pin VL53L0X_XSHUT_Pin LED3_WIFI__LED4_BLE_Pin */
  GPIO_InitStruct.Pin = LogicAnalyzer_Pin|VL53L0X_XSHUT_Pin|LED3_WIFI__LED4_BLE_Pin;
  GPIO_InitStruct.Mode = GPIO_MODE_OUTPUT_PP;
  GPIO_InitStruct.Pull = GPIO_NOPULL;
  GPIO_InitStruct.Speed = GPIO_SPEED_FREQ_LOW;
  HAL_GPIO_Init(GPIOC, &GPIO_InitStruct);

  /*Configure GPIO pin : ARD_D3_Pin */
  GPIO_InitStruct.Pin = ARD_D3_Pin;
  GPIO_InitStruct.Mode = GPIO_MODE_IT_RISING;
  GPIO_InitStruct.Pull = GPIO_NOPULL;
  HAL_GPIO_Init(ARD_D3_GPIO_Port, &GPIO_InitStruct);

  /*Configure GPIO pin : ARD_D6_Pin */
  GPIO_InitStruct.Pin = ARD_D6_Pin;
  GPIO_InitStruct.Mode = GPIO_MODE_ANALOG_ADC_CONTROL;
  GPIO_InitStruct.Pull = GPIO_NOPULL;
  HAL_GPIO_Init(ARD_D6_GPIO_Port, &GPIO_InitStruct);

  /*Configure GPIO pins : ARD_D8_Pin ISM43362_BOOT0_Pin ISM43362_WAKEUP_Pin LED2_Pin
                           SPSGRF_915_SDN_Pin ARD_D5_Pin SPSGRF_915_SPI3_CSN_Pin */
  GPIO_InitStruct.Pin = ARD_D8_Pin|ISM43362_BOOT0_Pin|ISM43362_WAKEUP_Pin|LED2_Pin
                          |SPSGRF_915_SDN_Pin|ARD_D5_Pin|SPSGRF_915_SPI3_CSN_Pin;
  GPIO_InitStruct.Mode = GPIO_MODE_OUTPUT_PP;
  GPIO_InitStruct.Pull = GPIO_NOPULL;
  GPIO_InitStruct.Speed = GPIO_SPEED_FREQ_LOW;
  HAL_GPIO_Init(GPIOB, &GPIO_InitStruct);

  /*Configure GPIO pins : LPS22HB_INT_DRDY_EXTI0_Pin LSM6DSL_INT1_EXTI11_Pin ARD_D2_Pin HTS221_DRDY_EXTI15_Pin
                           PMOD_IRQ_EXTI12_Pin */
  GPIO_InitStruct.Pin = LPS22HB_INT_DRDY_EXTI0_Pin|LSM6DSL_INT1_EXTI11_Pin|ARD_D2_Pin|HTS221_DRDY_EXTI15_Pin
                          |PMOD_IRQ_EXTI12_Pin;
  GPIO_InitStruct.Mode = GPIO_MODE_IT_RISING;
  GPIO_InitStruct.Pull = GPIO_NOPULL;
  HAL_GPIO_Init(GPIOD, &GPIO_InitStruct);

  /*Configure GPIO pins : USB_OTG_FS_PWR_EN_Pin SPBTLE_RF_SPI3_CSN_Pin PMOD_RESET_Pin STSAFE_A100_RESET_Pin */
  GPIO_InitStruct.Pin = USB_OTG_FS_PWR_EN_Pin|SPBTLE_RF_SPI3_CSN_Pin|PMOD_RESET_Pin|STSAFE_A100_RESET_Pin;
  GPIO_InitStruct.Mode = GPIO_MODE_OUTPUT_PP;
  GPIO_InitStruct.Pull = GPIO_NOPULL;
  GPIO_InitStruct.Speed = GPIO_SPEED_FREQ_LOW;
  HAL_GPIO_Init(GPIOD, &GPIO_InitStruct);

  /*Configure GPIO pins : VL53L0X_GPIO1_EXTI7_Pin LSM3MDL_DRDY_EXTI8_Pin */
  GPIO_InitStruct.Pin = VL53L0X_GPIO1_EXTI7_Pin|LSM3MDL_DRDY_EXTI8_Pin;
  GPIO_InitStruct.Mode = GPIO_MODE_IT_RISING;
  GPIO_InitStruct.Pull = GPIO_NOPULL;
  HAL_GPIO_Init(GPIOC, &GPIO_InitStruct);

  /*Configure GPIO pin : PMOD_SPI2_SCK_Pin */
  GPIO_InitStruct.Pin = PMOD_SPI2_SCK_Pin;
  GPIO_InitStruct.Mode = GPIO_MODE_AF_PP;
  GPIO_InitStruct.Pull = GPIO_NOPULL;
  GPIO_InitStruct.Speed = GPIO_SPEED_FREQ_VERY_HIGH;
  GPIO_InitStruct.Alternate = GPIO_AF5_SPI2;
  HAL_GPIO_Init(PMOD_SPI2_SCK_GPIO_Port, &GPIO_InitStruct);

  /*Configure GPIO pins : PMOD_UART2_CTS_Pin PMOD_UART2_RTS_Pin PMOD_UART2_TX_Pin PMOD_UART2_RX_Pin */
  GPIO_InitStruct.Pin = PMOD_UART2_CTS_Pin|PMOD_UART2_RTS_Pin|PMOD_UART2_TX_Pin|PMOD_UART2_RX_Pin;
  GPIO_InitStruct.Mode = GPIO_MODE_AF_PP;
  GPIO_InitStruct.Pull = GPIO_NOPULL;
  GPIO_InitStruct.Speed = GPIO_SPEED_FREQ_VERY_HIGH;
  GPIO_InitStruct.Alternate = GPIO_AF7_USART2;
  HAL_GPIO_Init(GPIOD, &GPIO_InitStruct);

  /*Configure GPIO pins : ARD_D15_Pin ARD_D14_Pin */
  GPIO_InitStruct.Pin = ARD_D15_Pin|ARD_D14_Pin;
  GPIO_InitStruct.Mode = GPIO_MODE_AF_OD;
  GPIO_InitStruct.Pull = GPIO_NOPULL;
  GPIO_InitStruct.Speed = GPIO_SPEED_FREQ_VERY_HIGH;
  GPIO_InitStruct.Alternate = GPIO_AF4_I2C1;
  HAL_GPIO_Init(GPIOB, &GPIO_InitStruct);

  /* EXTI interrupt init*/
  HAL_NVIC_SetPriority(EXTI9_5_IRQn, 0, 0);
  HAL_NVIC_EnableIRQ(EXTI9_5_IRQn);

  HAL_NVIC_SetPriority(EXTI15_10_IRQn, 0, 0);
  HAL_NVIC_EnableIRQ(EXTI15_10_IRQn);

}

void Error_Handler(void)
{
  __disable_irq();
  while (1)
  {
  }
}
